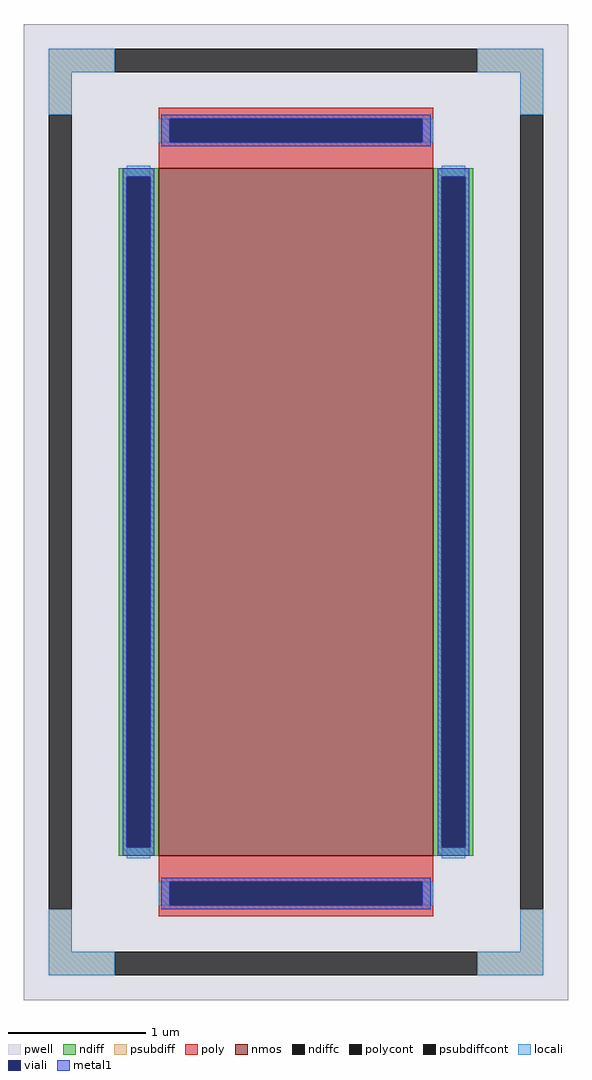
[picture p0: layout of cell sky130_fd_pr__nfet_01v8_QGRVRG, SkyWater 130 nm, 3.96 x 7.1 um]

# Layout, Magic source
magic
tech sky130A
<< pwell >>
rect -198 -355 198 355
<< nmos >>
rect -100 -250 100 250
<< ndiff >>
rect -129 244 -100 250
rect -129 -244 -123 244
rect -106 -244 -100 244
rect -129 -250 -100 -244
rect 100 244 129 250
rect 100 -244 106 244
rect 123 -244 129 244
rect 100 -250 129 -244
<< ndiffc >>
rect -123 -244 -106 244
rect 106 -244 123 244
<< psubdiff >>
rect -180 320 -132 337
rect 132 320 180 337
rect -180 289 -163 320
rect 163 289 180 320
rect -180 -320 -163 -289
rect 163 -320 180 -289
rect -180 -337 -132 -320
rect 132 -337 180 -320
<< psubdiffcont >>
rect -132 320 132 337
rect -180 -289 -163 289
rect 163 -289 180 289
rect -132 -337 132 -320
<< poly >>
rect -100 286 100 294
rect -100 269 -92 286
rect 92 269 100 286
rect -100 250 100 269
rect -100 -269 100 -250
rect -100 -286 -92 -269
rect 92 -286 100 -269
rect -100 -294 100 -286
<< polycont >>
rect -92 269 92 286
rect -92 -286 92 -269
<< locali >>
rect -180 320 -132 337
rect 132 320 180 337
rect -180 289 -163 320
rect 163 289 180 320
rect -100 269 -92 286
rect 92 269 100 286
rect -123 244 -106 252
rect -123 -252 -106 -244
rect 106 244 123 252
rect 106 -252 123 -244
rect -100 -286 -92 -269
rect 92 -286 100 -269
rect -180 -320 -163 -289
rect 163 -320 180 -289
rect -180 -337 -132 -320
rect 132 -337 180 -320
<< viali >>
rect -92 269 92 286
rect -123 -244 -106 244
rect 106 -244 123 244
rect -92 -286 92 -269
<< metal1 >>
rect -98 286 98 289
rect -98 269 -92 286
rect 92 269 98 286
rect -98 266 98 269
rect -126 244 -103 250
rect -126 -244 -123 244
rect -106 -244 -103 244
rect -126 -250 -103 -244
rect 103 244 126 250
rect 103 -244 106 244
rect 123 -244 126 244
rect 103 -250 126 -244
rect -98 -269 98 -266
rect -98 -286 -92 -269
rect 92 -286 98 -269
rect -98 -289 98 -286
<< properties >>
string FIXED_BBOX -171 -328 171 328
string gencell sky130_fd_pr__nfet_01v8
string library sky130
string parameters w 5.0 l 2.0 m 1 nf 1 diffcov 100 polycov 100 guard 1 glc 1 grc 1 gtc 1 gbc 1 tbcov 100 rlcov 100 topc 1 botc 1 poverlap 0 doverlap 1 lmin 0.15 wmin 0.42 compatible {sky130_fd_pr__nfet_01v8 sky130_fd_pr__nfet_01v8_lvt  sky130_fd_bs_flash__special_sonosfet_star  sky130_fd_pr__nfet_g5v0d10v5 sky130_fd_pr__nfet_05v0_nvt  sky130_fd_pr__nfet_03v3_nvt} full_metal 1 viasrc 100 viadrn 100 viagate 100 viagb 0 viagr 0 viagl 0 viagt 0
<< end >>
